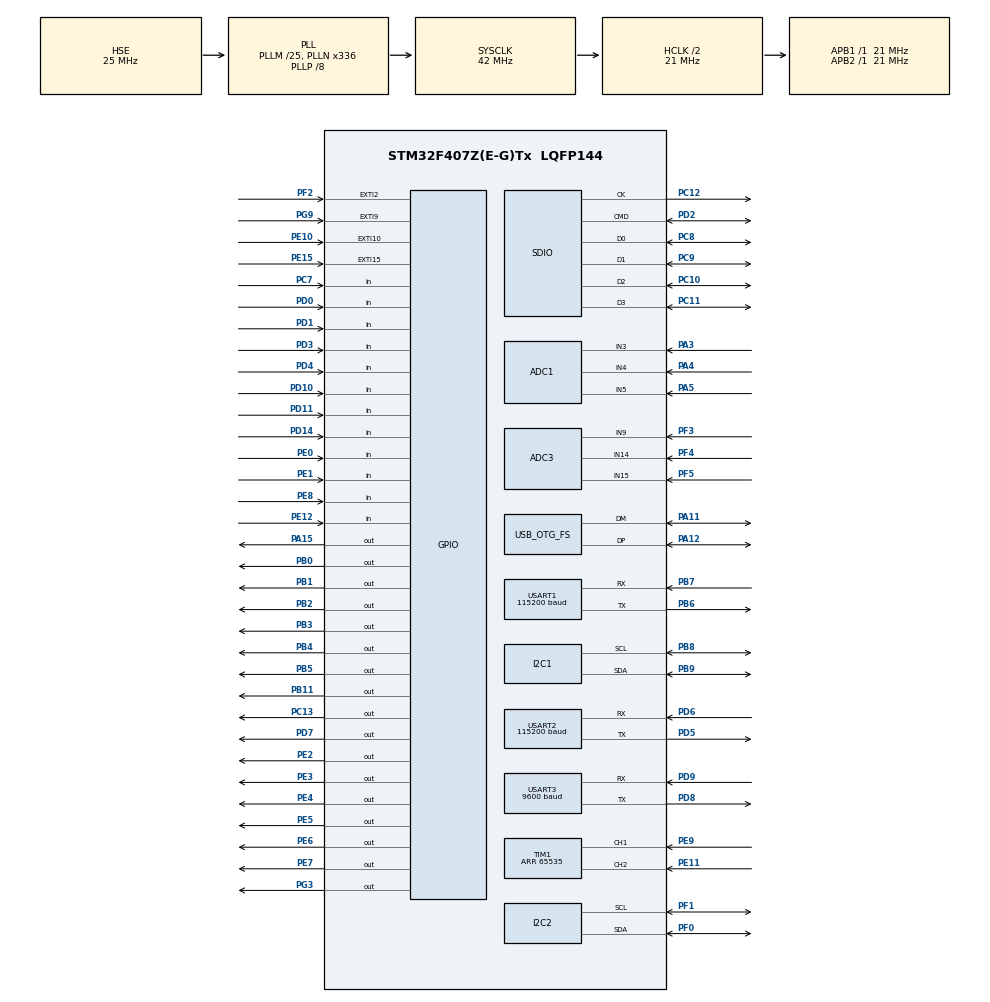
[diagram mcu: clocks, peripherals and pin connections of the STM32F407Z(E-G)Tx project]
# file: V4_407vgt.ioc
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ADC1.Channel-0\#ChannelRegularConversion=ADC_CHANNEL_3
ADC1.ClockPrescaler=ADC_CLOCK_SYNC_PCLK_DIV4
ADC1.NbrOfConversionFlag=1
ADC1.Rank-0\#ChannelRegularConversion=1
ADC1.SamplingTime-0\#ChannelRegularConversion=ADC_SAMPLETIME_3CYCLES
ADC1.master=1
ADC3.Channel-0\#ChannelRegularConversion=ADC_CHANNEL_9
ADC3.ClockPrescaler=ADC_CLOCK_SYNC_PCLK_DIV4
ADC3.NbrOfConversionFlag=1
ADC3.Rank-0\#ChannelRegularConversion=1
ADC3.SamplingTime-0\#ChannelRegularConversion=ADC_SAMPLETIME_3CYCLES
Dma.Request0=USART2_RX
Dma.USART2_RX.0.Direction=DMA_PERIPH_TO_MEMORY
Dma.USART2_RX.0.FIFOMode=DMA_FIFOMODE_DISABLE
Dma.USART2_RX.0.Instance=DMA1_Stream5
Dma.USART2_RX.0.MemDataAlignment=DMA_MDATAALIGN_BYTE
Dma.USART2_RX.0.MemInc=DMA_MINC_ENABLE
Dma.USART2_RX.0.Mode=DMA_NORMAL
Dma.USART2_RX.0.PeriphDataAlignment=DMA_PDATAALIGN_BYTE
Dma.USART2_RX.0.PeriphInc=DMA_PINC_DISABLE
Dma.USART2_RX.0.Priority=DMA_PRIORITY_LOW
IWDG.Prescaler=IWDG_PRESCALER_32
Mcu.Family=STM32F4
Mcu.Name=STM32F407Z(E-G)Tx
Mcu.Package=LQFP144
NVIC.DMA1_Stream5_IRQn=true\:0\:0\:false\:false\:true
NVIC.EXTI15_10_IRQn=true\:2\:0\:true\:false\:true
NVIC.EXTI2_IRQn=true\:1\:0\:true\:false\:true
NVIC.EXTI9_5_IRQn=true\:1\:0\:true\:false\:true
NVIC.OTG_FS_IRQn=true\:5\:0\:true\:false\:true
NVIC.PriorityGroup=NVIC_PRIORITYGROUP_4
NVIC.TIM2_IRQn=true\:1\:0\:true\:false\:true
NVIC.TIM4_IRQn=true\:3\:0\:true\:false\:true
NVIC.USART1_IRQn=true\:0\:0\:false\:false\:true
NVIC.USART2_IRQn=true\:2\:0\:true\:false\:true
NVIC.USART3_IRQn=true\:1\:0\:true\:false\:true
PA11.Mode=Device_Only
PA11.Signal=USB_OTG_FS_DM
PA12.Mode=Device_Only
PA12.Signal=USB_OTG_FS_DP
PA13.Mode=Serial_Wire
PA13.Signal=SYS_JTMS-SWDIO
PA14.Mode=Serial_Wire
PA14.Signal=SYS_JTCK-SWCLK
PA15.Signal=GPIO_Output
PA3.Signal=ADCx_IN3
PA4.Signal=ADCx_IN4
PA5.Signal=ADCx_IN5
PB0.Signal=GPIO_Output
PB1.Signal=GPIO_Output
PB11.Signal=GPIO_Output
PB2.Signal=GPIO_Output
PB3.Signal=GPIO_Output
PB4.Signal=GPIO_Output
PB5.Signal=GPIO_Output
PB6.Mode=Asynchronous
PB6.Signal=USART1_TX
PB7.Mode=Asynchronous
PB7.Signal=USART1_RX
PB8.Mode=I2C
PB8.Signal=I2C1_SCL
PB9.Mode=I2C
PB9.Signal=I2C1_SDA
PC10.GPIO_PuPd=GPIO_PULLUP
PC10.Mode=SD_4_bits_Wide_bus
PC10.Signal=SDIO_D2
PC11.GPIO_PuPd=GPIO_PULLUP
PC11.Mode=SD_4_bits_Wide_bus
PC11.Signal=SDIO_D3
PC12.Mode=SD_4_bits_Wide_bus
PC12.Signal=SDIO_CK
PC13-ANTI_TAMP.Signal=GPIO_Output
PC7.Signal=GPIO_Input
PC8.GPIO_PuPd=GPIO_PULLUP
PC8.Mode=SD_4_bits_Wide_bus
PC8.Signal=SDIO_D0
PC9.GPIO_PuPd=GPIO_PULLUP
PC9.Mode=SD_4_bits_Wide_bus
PC9.Signal=SDIO_D1
PD0.Signal=GPIO_Input
PD1.Signal=GPIO_Input
PD10.Signal=GPIO_Input
PD11.Signal=GPIO_Input
PD14.Signal=GPIO_Input
PD2.GPIO_PuPd=GPIO_PULLUP
PD2.Mode=SD_4_bits_Wide_bus
PD2.Signal=SDIO_CMD
PD3.Signal=GPIO_Input
PD4.Signal=GPIO_Input
PD5.Mode=Asynchronous
PD5.Signal=USART2_TX
PD6.Mode=Asynchronous
PD6.Signal=USART2_RX
PD7.Signal=GPIO_Output
PD8.Mode=Asynchronous
PD8.Signal=USART3_TX
PD9.Mode=Asynchronous
PD9.Signal=USART3_RX
PE0.Signal=GPIO_Input
PE1.Signal=GPIO_Input
PE10.GPIO_ModeDefaultEXTI=GPIO_MODE_IT_FALLING
PE10.Signal=GPXTI10
PE11.Signal=S_TIM1_CH2
PE12.Signal=GPIO_Input
PE15.GPIO_ModeDefaultEXTI=GPIO_MODE_IT_FALLING
PE15.GPIO_PuPd=GPIO_PULLUP
PE15.Signal=GPXTI15
PE2.Signal=GPIO_Output
PE3.Signal=GPIO_Output
PE4.Signal=GPIO_Output
PE5.Signal=GPIO_Output
PE6.Signal=GPIO_Output
PE7.Signal=GPIO_Output
PE8.Signal=GPIO_Input
PE9.Signal=S_TIM1_CH1
PF0.Mode=I2C
PF0.Signal=I2C2_SDA
PF1.Mode=I2C
PF1.Signal=I2C2_SCL
PF2.Signal=GPXTI2
PF3.Mode=IN9
PF3.Signal=ADC3_IN9
PF4.Mode=IN14
PF4.Signal=ADC3_IN14
PF5.Mode=IN15
PF5.Signal=ADC3_IN15
PG3.Signal=GPIO_Output
PG9.GPIO_ModeDefaultEXTI=GPIO_MODE_IT_FALLING
PG9.Signal=GPXTI9
PH0-OSC_IN.Mode=HSE-External-Oscillator
PH0-OSC_IN.Signal=RCC_OSC_IN
PH1-OSC_OUT.Mode=HSE-External-Oscillator
PH1-OSC_OUT.Signal=RCC_OSC_OUT
ProjectManager.HeapSize=0x2000
ProjectManager.StackSize=0x4000
ProjectManager.TargetToolchain=MDK-ARM V4
RCC.48MHZClocksFreq_Value=48000000
RCC.AHBCLKDivider=RCC_SYSCLK_DIV2
RCC.AHBFreq_Value=21000000
RCC.APB1Freq_Value=21000000
RCC.APB1TimFreq_Value=21000000
RCC.APB2Freq_Value=21000000
RCC.APB2TimFreq_Value=21000000
RCC.CortexFreq_Value=21000000
RCC.HCLKFreq_Value=21000000
RCC.HSE_VALUE=25000000
RCC.HSI_VALUE=16000000
RCC.LSE_VALUE=32768
RCC.PLLM=25
RCC.PLLN=336
RCC.PLLP=RCC_PLLP_DIV8
RCC.PLLQ=7
RCC.SYSCLKFreq_VALUE=42000000
RCC.SYSCLKSource=RCC_SYSCLKSOURCE_PLLCLK
RCC.VCOOutputFreq_Value=336000000
SDIO.ClockDiv=10
SH.ADCx_IN3.0=ADC1_IN3,IN3
SH.ADCx_IN4.0=ADC1_IN4,IN4
SH.ADCx_IN5.0=ADC1_IN5,IN5
SH.S_TIM1_CH1.0=TIM1_CH1,Encoder_Interface
SH.S_TIM1_CH2.0=TIM1_CH2,Encoder_Interface
TIM1.Period=65535
TIM2.Period=62500
TIM2.Prescaler=672
TIM3.Period=65535
TIM3.Prescaler=20
TIM4.Period=100
TIM4.Prescaler=2100
TIM6.Period=65535
TIM6.Prescaler=192
USART1.BaudRate=115200
USART1.VirtualMode=VM_ASYNC
USART2.BaudRate=115200
USART2.VirtualMode=VM_ASYNC
USART3.BaudRate=9600
USART3.VirtualMode=VM_ASYNC
USB_DEVICE.CLASS_NAME_FS=MSC
USB_DEVICE.VirtualModeFS=Msc_FS
USB_OTG_FS.VirtualMode=Device_Only
USB_OTG_FS.vbus_sensing_enable=ENABLE
VP_FATFS_VS_SDIO.Mode=SDIO
VP_IWDG_VS_IWDG.Mode=IWDG_Activate
VP_TIM2_VS_ClockSourceINT.Mode=Internal
VP_TIM3_VS_ClockSourceINT.Mode=Internal
VP_TIM4_VS_ClockSourceINT.Mode=Internal
VP_TIM6_VS_ClockSourceINT.Mode=Enable_Timer
VP_USB_DEVICE_VS_USB_DEVICE_MSC_FS.Mode=MSC_FS
board=V4_407vgt

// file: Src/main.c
/**
  ******************************************************************************
  * File Name          : main.c
  * Description        : Main program body
  ******************************************************************************
  * This notice applies to any and all portions of this file
  * that are not between comment pairs USER CODE BEGIN and
  * USER CODE END. Other portions of this file, whether
  * inserted by the user or by software development tools
  * are owned by their respective copyright owners.
  *
  * Copyright (c) 2018 STMicroelectronics International N.V.
  * All rights reserved.
  *
  * Redistribution and use in source and binary forms, with or without
  * modification, are permitted, provided that the following conditions are met:
  *
  * 1. Redistribution of source code must retain the above copyright notice,
  *    this list of conditions and the following disclaimer.
  * 2. Redistributions in binary form must reproduce the above copyright notice,
  *    this list of conditions and the following disclaimer in the documentation
  *    and/or other materials provided with the distribution.
  * 3. Neither the name of STMicroelectronics nor the names of other
  *    contributors to this software may be used to endorse or promote products
  *    derived from this software without specific written permission.
  * 4. This software, including modifications and/or derivative works of this
  *    software, must execute solely and exclusively on microcontroller or
  *    microprocessor devices manufactured by or for STMicroelectronics.
  * 5. Redistribution and use of this software other than as permitted under
  *    this license is void and will automatically terminate your rights under
  *    this license.
  *
  * THIS SOFTWARE IS PROVIDED BY STMICROELECTRONICS AND CONTRIBUTORS "AS IS"
  * AND ANY EXPRESS, IMPLIED OR STATUTORY WARRANTIES, INCLUDING, BUT NOT
  * LIMITED TO, THE IMPLIED WARRANTIES OF MERCHANTABILITY, FITNESS FOR A
  * PARTICULAR PURPOSE AND NON-INFRINGEMENT OF THIRD PARTY INTELLECTUAL PROPERTY
  * RIGHTS ARE DISCLAIMED TO THE FULLEST EXTENT PERMITTED BY LAW. IN NO EVENT
  * SHALL STMICROELECTRONICS OR CONTRIBUTORS BE LIABLE FOR ANY DIRECT, INDIRECT,
  * INCIDENTAL, SPECIAL, EXEMPLARY, OR CONSEQUENTIAL DAMAGES (INCLUDING, BUT NOT
  * LIMITED TO, PROCUREMENT OF SUBSTITUTE GOODS OR SERVICES; LOSS OF USE, DATA,
  * OR PROFITS; OR BUSINESS INTERRUPTION) HOWEVER CAUSED AND ON ANY THEORY OF
  * LIABILITY, WHETHER IN CONTRACT, STRICT LIABILITY, OR TORT (INCLUDING
  * NEGLIGENCE OR OTHERWISE) ARISING IN ANY WAY OUT OF THE USE OF THIS SOFTWARE,
  * EVEN IF ADVISED OF THE POSSIBILITY OF SUCH DAMAGE.
  *
  ******************************************************************************
  */
#include "main.h"
#include "stm32f4xx_hal.h"
#include "fatfs.h"
#include "usb_device.h"

/* USER CODE BEGIN Includes */
#include <string.h>
#include <stdio.h>

#include "lcdlib.h"
#include "my_delay.h"
#include "defines.h"
#include "eeprom_ext.h"
#include "rtc.h"
#include "gsm.h"
#include "main_func.h"
#include "usart.h"
#include "temperature.h"
#include "timeout.h"
#include "ADXL345.h"
#include "main_func.h"
#include "wifi.h"
#include "ir.h"
#include "camera.h"
/* USER CODE END Includes */

ADC_HandleTypeDef hadc1;
ADC_HandleTypeDef hadc3;

I2C_HandleTypeDef hi2c1;
I2C_HandleTypeDef hi2c2;

IWDG_HandleTypeDef hiwdg;

SD_HandleTypeDef hsd;

TIM_HandleTypeDef htim1;
TIM_HandleTypeDef htim2;
TIM_HandleTypeDef htim3;
TIM_HandleTypeDef htim4;
TIM_HandleTypeDef htim6;

UART_HandleTypeDef huart1;
UART_HandleTypeDef huart2;
UART_HandleTypeDef huart3;
DMA_HandleTypeDef hdma_usart2_rx;

/* USER CODE BEGIN PV */
/* Private variables ---------------------------------------------------------*/
const uint32_t station_address=500;
char station_name[30]="MARV ELECTRONIC";
const char firmware_version[]="V4.01";

#ifdef marv
const char title_str[]="     MARV RTU";
#endif

#ifdef saramin
const char title_str[]="    SARAMIN RTU";
#endif

ADC_ChannelConfTypeDef adConfig;

volatile Rtc clock,cur_clock;

// server listen port for www

#define MYWWWPORT 80

// global packet buffer

#define BUFFER_SIZE 550

//static uint8_t tcp_buf[BUFFER_SIZE+1];

// Counter & Index Var ------------------------
volatile uint8_t play_count, alarm_count, resend,len,display_count,iic_count,rec_cou,rf_pwr_count,
time_out,time_out_pass,send_time,p_rec_cou,p_len,loop_timeout,ir_cou,iic_pwr_count,
fc_clr_time,next_msg,usart_rain_cou,ReadWaterTime,log_period,minute_changed,iic_busy_timeout;

volatile uint16_t send_count,count,rain_cou,wakeup_cou,i,j,wind_timeout,test_mode_timeout,temp_time;

//Normal Var------------------------------------------------------------
volatile uint8_t st_type,pwr_existence,
fc_on_time,fc_off_time,cur_minute,save_door_state,
valid_door_flag,snow_mtr_time=11,cur_resend,rain_sensor_type,fc_delay,temp_type,
sound_number,WindSensorType;

volatile uint16_t password,input_pass,alarm,log_time,next_log_time,sample_count,start_time,stop_time,
return_time=60,WaterSensorTime,DisplayTime,wind_dir,cur_wind_dir,wind_speed,cur_wind_speed,LogParameters,
time24;

volatile uint32_t write_adr,read_adr,data_ir,button[20],ext_device,AirPressure,cur_air_pressure;

volatile float wind_time,WindAlpha,WindBeta,AirAlpha,AirBeta,utp,ltp;
//-------------Rain Sensor Var--------------------------
volatile float rain_level,cur_rain_level,last_rain_level,delta_rain_level,rain_time,minute_rain;
volatile float rain_register[20],rain_sum;
volatile uint8_t rain_register_index;
volatile uint16_t RainRstTime,RainRstFlag;
volatile uint16_t RainEventTime=900,minute_rain_cou;

volatile uint8_t heater_control;
signed char heater_temp;
//----------------Analog input var--------------------
float ADC1Scale,ADC2Scale,ADC3Scale,ADC4Scale,ADC5Scale,currentScale;
//---------water sensor var--------------------------
unsigned char WaterSensorType;
volatile int16_t  water_level,last_water_level,delta_water_level,cur_water_level_display,max_water_level,
min_water_level,SensorLevel,RotaryResolution,RotaryDiameter,RotaryScale,cur_water_level;
float Imin,Imax;
uint16_t volatile SetLevelBar_count,SetLevelBar_timeout;
//-------------------wifi--------------------------------
uint8_t wifi_rec_buffer[250],wifi_send_buffer[250];
volatile uint8_t wifi_rec_index;
//-----------Camera Module Variables-------------
volatile unsigned int PictureSize,PictureSizeCounter,TakePictureCount,CamRecLen,
camera_log_time;
unsigned char CameraBuffer[550],CameraBuffer1[550],MemBuf[60000]/*1310*/,*CameraBufPointer=CameraBuffer;
volatile unsigned char CamBufOvf,PictureRecProcess,rs485_select;

unsigned char gprs_first_connect,gprs_auto_upload;

unsigned char server_url[50],server_username[30],server_password[20],server_filename[50],server_path[100],apn_name[30];
unsigned char temp_filename[40];

char camera_reset[4]={0x56,0,0x26,0};
char camera_TakePicture[5]={0x56,0,0x36,0x1,0};
char camera_ReadFileSize[5]={0x56,0,0x34,0x1,0};
char camera_ReadFileContent[16]={0x56,0,0x32,0xc,0,0xa,0,0,0,0,0,0,0,0,0,0xa};
char camera_ChangePicSizeLarge[5]={0x56,0,0x54,1,0};
char camera_ChangePicSizeSmall[5]={0x56,0,0x54,1,0x11};
char camera_changeboud[7]={0x56,0,0x24,3,1,0xAE,0xC8};

//--------bmp variabls-----------
volatile int16_t AC1,AC2,AC3,B1,B2,MB,MC,MD;
volatile uint16_t AC4,AC5,AC6;
volatile int32_t UP=0,UT=0,B3,B4=0,B5=0,B6=0,B7=0,X1=0,X2=0,X3=0,T=0;
volatile float P;

/////ADXL345 --------------------------------------------
uint16_t Accel_Xout_Val=0, Accel_Yout_Val=0, Accel_Zout_Val=0;
int16_t Accel_Xout_Normalized_Val=0, Accel_Yout_Normalized_Val=0, Accel_Zout_Normalized_Val=0;
uint8_t Offset_X_Val=0,Offset_Y_Val=0,Offset_Z_Val=0;
float Accel_XAngle=0, Accel_YAngle=0, Accel_ZAngle=0;

//***---------------temperature & humidity sensor ------------------
signed char temp_in,cur_temp_in,temp_out,cur_temp_out,temp_difference,T_low,T_hi;
uint8_t sht_rec_buffer[15],sht_send_buffer[5],temp_rec_len,humidity;
//------------thalimedes --------------
unsigned char thali_buf[20];
//buffer Definition ***********************

uint8_t p_rec_buf[15],p_send_bufer[15],fc301d_send_buffer[255],fc301d_rec_buffer[255],
log_buffer[100],base_address[30],log_header[20];

uint8_t usart2_rx[2],usart3_rx[2];
//uint16_t log_avg[40];
uint8_t buf[255];
//-------gsm module---------------
uint8_t SimSendBuffer[255],SimRecBuffer[255],ServerPhone[30],RemotePhone[30]
,SMS_text[255],ChargeReqStr[30],gprs_buffer[250];
uint8_t AdminMobile[30];
volatile uint8_t gsm_off_time,SmsSendFlag,CUSD_cnt;
volatile int8_t gsm_signal,SMS_number,ftp_path_separator;
volatile uint16_t SimCount,SmsSendTime,SimRecLen,user_sms_count,user_sms_timeout,gprs_upload_time;
volatile uint16_t upload_time_table[5];
//--------keypad string-----------
char input_number_str[20];
uint8_t number_limit,number_limit_index;
//pointer-------------------------
uint8_t *rec_data,*data,**endptr;
uint8_t *sms_pointer,*sms_pointer1,*str_point;
//FatFs variable definition---------------------

FATFS SDFatFs;  /* File system object for SD card logical drive */
uint8_t SDPath[4]; /* SD card logical drive path */

FRESULT res;                                          /* FatFs function common result code */

FATFS Fatfs[_VOLUMES];		/* File system object for each logical drive */
FIL File[2];				/* File object */
DIR dir[5];
UINT FatBytesWritten;
UINT FatBytesRead;

//Structures & Bit Variables -----------------------------------------------------------------
#pragma anon_unions
union {

  uint8_t msg;
  struct {

    uint8_t num:7;
    uint8_t device:1;
  };
}volatile play_buffer[20];

//Flag Defines-------------------
//#pragma anon_unions
struct{

  struct {
    uint16_t open_door:1;
    uint16_t main_menu:1;
    uint16_t ir_flag:1;
    uint16_t comm:1;
    uint16_t ack:1;
    uint16_t ply_alarm:1;
    uint16_t rob:1;
    uint16_t wakeup:1;
    uint16_t door:1;
    uint16_t temp_control:1;
    uint16_t fc_net_busy:1;
    uint16_t LcdOn:1;
    uint16_t bmp180_timeout:1;
    uint16_t pcf_timeout:1;
    uint16_t disp:1;
  };

  struct{
    uint16_t read_state:1;
    uint16_t config_pwr:1;
    uint16_t pwr_config_read:1;
    uint16_t read_log:1;
    uint16_t config_rtc:1;
    uint16_t rtc_read:1;
    uint16_t config_log_time:1;
    uint16_t log_time_read:1;
    uint16_t config_fc_cycle:1;
    uint16_t fc_cycle_read:1;
    uint16_t config_send_time:1;
    uint16_t send_time_read:1;
    uint16_t rtcset:1;
    uint16_t dmatranfercplt:1;

  };
  struct{
    uint16_t fc301d_reply_cmd:1;
    uint16_t display_level:1;
    uint16_t aburt:1;
    uint16_t spi_rec:1;
    uint16_t input_init_pass:1;
    uint16_t r:1;
    uint16_t detect_rain:1;
    uint16_t start_rain_event:1;
    uint16_t rec_rain_usart:1;
    uint16_t refresh:1;
    uint16_t rtc_update:1;
    uint16_t log_disable:1;
    uint16_t ir_learn:1;
    uint16_t WaterSensorOn:1;
		uint16_t test_mode:1;
		uint16_t i2c_busy:1;

  };
	struct{
    uint16_t UserCheck:1;
    uint16_t SetWaterLevelBar:1;
		uint16_t min_changed:1;
		uint16_t log_start:1;
		uint16_t stop_rain:1;
		uint16_t min_rain_check:1;
		uint16_t log_picture:1;
		uint16_t levelevent:1;
		uint16_t menu_setting:1;
		uint16_t alarm_disable:1;
		uint16_t upload_log:1;
		uint16_t upload_in_schedule:1;

  };

}volatile flag;

//commands : {length,cmd}

typedef struct
{uint8_t length; uint8_t cmd;}command;

const command
wakeup = {0,200},

play_alarm={0,21},

stop_alarm={0,22},

hozur_taki={0,42},

acknlg={0,43},

send_data={19,47},

read_mem={9,45},
time_stamp={0,49},

power_config={5,54},
read_power_config={0,55},
send_power_config={5,56},

rtc_config={6,57},
send_rtc={6,58},
read_rtc={0,59},

read_fc_time={0,64},
send_fc_time={2,65},
fc_time_config={2,66},

read_send_time={0,67},
send_time_config={1,68},
transmit_send_time={1,69},

log_time_config={2,70},
send_log_time={2,71},
read_log_time={0,72},

end_pack={0,73},
aburt_process={0,74},

change_server_phone={12,75},
server_phone_reply={12,76},
server_phone_read={0,77},

read_data_ascii={0,78},

snowmotor={0,79};
/* USER CODE END PV */

void SystemClock_Config(void);
static void MX_GPIO_Init(void);
static void MX_DMA_Init(void);
static void MX_ADC1_Init(void);
static void MX_ADC3_Init(void);
static void MX_TIM2_Init(void);
static void MX_TIM3_Init(void);
static void MX_USART2_UART_Init(void);
static void MX_I2C1_Init(void);
static void MX_I2C2_Init(void);
static void MX_USART3_UART_Init(void);
static void MX_IWDG_Init(void);
static void MX_TIM4_Init(void);
static void MX_USART1_UART_Init(void);
static void MX_SDIO_SD_Init(void);
static void MX_TIM1_Init(void);
static void MX_TIM6_Init(void);

/* USER CODE BEGIN PFP */
/* Private function prototypes -----------------------------------------------*/

/* USER CODE END PFP */

int main(void)
{

  /* MCU Configuration----------------------------------------------------------*/

  /* Reset of all peripherals, Initializes the Flash interface and the Systick. */
  HAL_Init();

  /* Configure the system clock */
  SystemClock_Config();

  /* Initialize all configured peripherals */
  MX_GPIO_Init();
  MX_DMA_Init();
  MX_ADC1_Init();
  MX_ADC3_Init();
  MX_TIM2_Init();
  MX_TIM3_Init();
  MX_USART2_UART_Init();
  MX_I2C1_Init();
  MX_I2C2_Init();
  MX_USART3_UART_Init();
  MX_IWDG_Init();
  MX_TIM4_Init();
  MX_USART1_UART_Init();
  MX_USB_DEVICE_Init();
  MX_SDIO_SD_Init();
  MX_FATFS_Init();
  MX_TIM1_Init();
  MX_TIM6_Init();

  /* USER CODE BEGIN 2 */

  delayms(1000);
  HAL_TIM_Base_Start(&htim1);
  HAL_TIM_Base_Start_IT(&htim2);
  HAL_TIM_Base_Start(&htim3);
	HAL_TIM_Base_Start_IT(&htim4);
	HAL_TIM_Base_Start(&htim6);

//	__HAL_UART_ENABLE_IT(&huart1, UART_IT_RXNE);
	HAL_NVIC_DisableIRQ(TIM4_IRQn);//disable key input

	rtc_init();

	rtc_gettime_shamsi(&clock);
	cur_clock=clock;

	lcd_pwr_on;
	LCDinit();
	LCDclr();
	LCDcursorOFF();
	LCDputs("Boot Device ");
	valid_door_flag=1;
	flag.main_menu=1;
	flag.open_door=1;
	flag.door=1;
	flag.LcdOn=1;
	delayms(1000);

//	if(mmc_detect==0){

		f_mount(&SDFatFs, (TCHAR const*)SDPath, 1);
		sprintf((char*)log_buffer,"%04d_%02d.txt",clock.year,clock.month);
		res=f_open(&File[0],log_buffer,FA_WRITE | FA_OPEN_ALWAYS);

		LCDclr();
		if(res==0){
			LCDputs("SD Card Mount OK");
			f_close(&File[0]);

		}
		else{
			sprintf(buf,"SD Card Fail %d",res);
			LCDputs(buf);
		}

		delayms(1000);
//	}

//	__enable_irq();
//	__disable_irq();
  /*adc config chanel variable */

  adConfig.Rank = 1;
  adConfig.SamplingTime = ADC_SAMPLETIME_480CYCLES;
  //------------------station name-------------------------------
	if(read_exteeprom_byte(station_name_ee_adr)!=0xFF){
		read_exteeprom_ary((unsigned char*)station_name,30,station_name_ee_adr);

	}

  //--------------------if external device connected--------------
  ext_device=read_exteeprom_dword(ext_device_ee_adr);

  if(ext_device==0xFFFFFFFF){
    ext_device=0;
    write_exteeprom_dword(ext_device,ext_device_ee_adr);

  }
  else {
		ext_device |= gsm;//  gsm modem is fixed in device

    if((ext_device&temp_sensor)==temp_sensor){
      temp_type=read_exteeprom_byte(temp_type_ee_adr);
      if(temp_type & PT100){
        temp_difference=read_exteeprom_byte(temp_difference_ee_adr);
        analog_pwr_on;
      }
    }

    if(ext_device & water_sensor){
      WaterSensorType=read_exteeprom_byte(water_type_ee_adr);
      if(WaterSensorType==microsonic){

        max_water_level=read_exteeprom_word(max_water_level_ee_adr);
        min_water_level=read_exteeprom_word(min_water_level_ee_adr);
        SensorLevel=read_exteeprom_word(sensor_level_ee_adr);
        //      Imax=read_exteeprom_float(Imax_ee_adr);
        //      Imin=read_exteeprom_float(Imin_ee_adr);

      }
			if(WaterSensorType == rotary_encoder){
				RotaryResolution=read_exteeprom_word(RotaryResolution_ee_adr);
				RotaryDiameter=read_exteeprom_word(RotaryDiameter_ee_adr);
				if(RotaryResolution==0xFFFF) RotaryResolution=200;//Pulse
				if(RotaryDiameter==0xFFFF) RotaryDiameter=20;//cm
				RotaryScale=RotaryResolution/RotaryDiameter;
				water_level=(int16_t)read_exteeprom_word(water_level_ee_adr);
				if(water_level>1000 || water_level<(0-1000))water_level=0;
				TIM1->CNT=water_level*RotaryScale;
				cur_water_level=water_level;
			}

			last_water_level=water_level;
			cur_water_level_display=water_level;
			delta_water_level=read_exteeprom_word(DeltaWlvlEEadr);

    }

    if(ext_device & rain_sensor){
      T_hi=read_exteeprom_byte(T_hi_ee_adr);
      T_low=read_exteeprom_byte(T_low_ee_adr);

			rain_sensor_type=read_exteeprom_byte(rain_type_ee_adr);

      rain_level=read_exteeprom_float(rain_level_ee_adr);
      if(rain_level>100 || rain_level<0)rain_level=0;

      RainRstTime=read_exteeprom_word(RainRstTime_ee_adr);

      RainEventTime=read_exteeprom_word(RainEventTime_ee_adr);
      if(RainEventTime>30000)RainEventTime=900;

			if(read_exteeprom_dword(DeltaRainLevelEEadr)!=0xFFFFFFFF){
				delta_rain_level=read_exteeprom_float(DeltaRainLevelEEadr);
      }
			else
				delta_rain_level=1000;//unreachable value

			last_rain_level=rain_level;
      cur_rain_level=rain_level;

			heater_control = read_exteeprom_byte(heater_control_ee_adr);
    }

    if(ext_device & gsm){
			LCDclr();
			LCDputs("GSM Init...");
			GsmInit();
      read_exteeprom_ary(ServerPhone,29,server_phone_ee_adr);
			read_exteeprom_ary(ChargeReqStr,29,ChargeReqStr_ee_adr);
      gsm_off_time=clock.hour;
			SmsSendTime=read_exteeprom_word(SmsSendTime_ee_adr);

			gprs_upload_time=read_exteeprom_word(gprs_upload_time_ee_adr);
			gprs_auto_upload=read_exteeprom_word(gprs_auto_upload_ee_adr);

			upload_time_table[0]=read_exteeprom_word(upload_time_table0_ee_adr);
			upload_time_table[1]=read_exteeprom_word(upload_time_table1_ee_adr);
			upload_time_table[2]=read_exteeprom_word(upload_time_table2_ee_adr);
			upload_time_table[3]=read_exteeprom_word(upload_time_table3_ee_adr);
			upload_time_table[4]=read_exteeprom_word(upload_time_table4_ee_adr);

			ftp_path_separator=read_exteeprom_byte(ftp_path_separator_ee_adr);

//-------------------read ftp addrress------------------------
			 if(read_exteeprom_byte(server_changed1_ee_adr)==0){

				read_exteeprom_ary(server_url,29,server_url_ee_adr);
				read_exteeprom_ary(server_username,29,server_username_ee_adr);
				read_exteeprom_ary(server_password,19,server_password_ee_adr);

			}

			else{
				strcpy(server_url,"files.000webhost.com");
				strcpy(server_username,"merlin66");
				strcpy(server_password,"8724110316");

			}

			if(read_exteeprom_byte(server_changed2_ee_adr)==0){

				read_exteeprom_ary(server_filename,49,server_filename_ee_adr);
				read_exteeprom_ary(server_path,49,server_path_ee_adr);
				read_exteeprom_ary(apn_name,30,apn_name_ee_adr);
			}

			else{

				strcpy(server_filename,"MarvPicture.jpg");
				strcpy(server_path,"/");
				strcpy(apn_name,"MTNIRANCELL");

			}

			str_point=server_path;
			while((*str_point) != 0){
				if((*str_point) == '*')(*str_point)=ftp_path_separator;
				str_point++;

			}

			sprintf(buf,"%06d%c",station_address,ftp_path_separator);
			strcat(server_path,buf);

		}

		if(ext_device & wifi){
			delayms(1000);
			LCDclr();
			LCDputs("WIFI Init...");
			wifi_init();
		}

    if(ext_device & wind_sensor){
      WindSensorType=read_exteeprom_byte(wind_type_ee_adr);

      if(WindSensorType == wind_omc160){
        //init usart for omc

      }

    }

  }

  // station_address=read_exteeprom_word(station_ee_adr);
  if(read_exteeprom_byte(50)==0)
    read_exteeprom_ary(base_address,30,base_ee_adr);

  else{
    for(i=0;i<30;i++) base_address[i]=0;
    write_exteeprom_ary(base_address,30,base_ee_adr);
    write_exteeprom_byte(0,50);
  }

  if(base_address[0]!=0)  fc_delay = base_address[0];
  else fc_delay=2;

  st_type=read_exteeprom_byte(st_type_ee_adr);

  //if password changed from defult password address 64000 would be 0 else it would be 255 and password would be defult password--
  if(read_exteeprom_byte(32)==255){
    password=defult_password;
    write_exteeprom_word(password,password_ee_adr);
    write_exteeprom_byte(0,32);

  }
  else if(read_exteeprom_byte(32)==0)
    password = read_exteeprom_word(password_ee_adr);

  else {
    write_exteeprom_byte(0,32);

    password=defult_password;
    write_exteeprom_word(password,password_ee_adr);
  }
  //-------------------------------------------------------------------------
  pwr_existence=read_exteeprom_byte(pwr_existence_ee_adr);
  if(pwr_existence==0xFF){
    pwr_existence=0;
    write_exteeprom_byte(pwr_existence,pwr_existence_ee_adr);
  }

  //-----------------------------------------------log_time setting-------------------------------
  if(read_exteeprom_word(log_time_ee_adr)==0xFFFF){
    log_time=60;
    write_exteeprom_word(log_time,log_time_ee_adr);

  }
  else log_time = read_exteeprom_word(log_time_ee_adr);

	if(read_exteeprom_word(LogParametersEEadr)==0xFFFF){
    LogParameters=5;
    write_exteeprom_word(LogParameters,LogParametersEEadr);

  }
  else LogParameters = read_exteeprom_word(LogParametersEEadr);

//	next_log_time=(clock.hour+1)*60;
//  if(next_log_time>=1440) {next_log_time=0; flag.log_disable=1;}

//  next_log_time=(clock.hour*60)+clock.min+log_time;
//  if(next_log_time>=1440) {next_log_time=next_log_time%1440; flag.log_disable=1;}

  //-----------------camera---------------------------------
	if(ext_device & camera){
		if(read_exteeprom_word(camera_log_time_ee_adr)==0xFFFF){
			camera_log_time=60;
			write_exteeprom_word(camera_log_time,camera_log_time_ee_adr);

		}
		else camera_log_time = read_exteeprom_word(camera_log_time_ee_adr);
	}
	//------------------------------------------------------ FC ON & OFF TIME      High_nibble:OFF     Low_nibble:ON-----------------

	if(read_exteeprom_byte(fc_time_ee_adr)==0xFF)

    write_exteeprom_byte(0x23,fc_time_ee_adr);              //2 second ON & 2 second OFF

  fc_on_time=read_exteeprom_byte(fc_time_ee_adr)&0x0F;
  fc_off_time=read_exteeprom_byte(fc_time_ee_adr)>>4;

  //------------------------------------------------------set default send_time--------------------------------------------------
  if(read_exteeprom_byte(send_time_ee_adr)==0xFF)
    write_exteeprom_byte(10,send_time_ee_adr);

  send_time=read_exteeprom_byte(send_time_ee_adr);
	//---------------------ADC Calib ---------------------

	if(read_exteeprom_byte(ADC1CalibOk)==0){
    ADC1Scale= read_exteeprom_float(ADC1Scale_ee_adr);

  }
  else {
    ADC1Scale=1;
  }

  if(read_exteeprom_byte(ADC2CalibOk)==0){
    ADC2Scale= read_exteeprom_float(ADC2Scale_ee_adr);

  }
  else {
    ADC2Scale=1;
  }

  if(read_exteeprom_byte(ADC3CalibOk)==0){
    ADC3Scale= read_exteeprom_float(ADC3Scale_ee_adr);

  }
  else {
    ADC3Scale=1;
  }

	if(read_exteeprom_byte(ADC4CalibOk)==0){
    ADC4Scale= read_exteeprom_float(ADC4Scale_ee_adr);

  }
  else {
    ADC4Scale=1;
  }

  if(read_exteeprom_byte(ADC5CalibOk)==0){
    ADC5Scale= read_exteeprom_float(ADC5Scale_ee_adr);

  }
  else {
    ADC5Scale=1;
  }

  if(read_exteeprom_byte(currentCalibOk)==0){
    currentScale= read_exteeprom_float(currentScale_ee_adr);

  }
  else {
    currentScale=1;
  }

  //read door state ------------------------------------------
  save_door_state = read_exteeprom_byte(door_state_ee_adr);

//	if(read_exteeprom_byte(IrIsLearned_ee_adr)==0xFF){
//		lcd_pwr_on;
//		flag.LcdOn=1;
//		delayms(20);
//		LCDinit();
//		delayms(20);
//		if(IR_Learning()==1)write_exteeprom_byte(0,IrIsLearned_ee_adr);
//		else{
//			static const char str_f5[]="LEARN FAIL !";
//			LCDclr();
//			LCDputsf(str_f5);
//			delayms(2000);
//		}
//	}
//	else{
//		read_exteeprom_ary((unsigned char*)button,68,button_ir_ee_adr);
//
//	}
//	flag.ir_learn=0;

//		loadSettingSD();
//		clock.min==0;
//		sprintf(buf,"picture/%04d_%02d/%02d_%02d_%02d.jpg",clock.year,clock.month,clock.day,clock.hour,clock.min);
//		res=upload_picture(buf,"09154431093");
  /* USER CODE END 2 */

  /* Infinite loop */
  /* USER CODE BEGIN WHILE */

	HAL_NVIC_EnableIRQ(TIM4_IRQn);//enable input key
  while (1)
  {
  /* USER CODE END WHILE */

  /* USER CODE BEGIN 3 */

    tgl_wdt;

//		 //-------------------------rain level reset in time---------------------
//    if(((clock.hour*60)+clock.min) != RainRstTime)RainRstFlag=0;
//
//    if((((clock.hour*60)+clock.min )== RainRstTime) && (RainRstFlag==0)){
//      RainRstFlag=1;
//      rain_level=0;
//      write_exteeprom_float(rain_level,rain_level_ee_adr);
//
//    }
    //--------------------------clock update after 6 month---------------
    if(iic_busy_timeout>60){
			flag.i2c_busy=0;
		}

    if(clock.hour==0 && clock.min==0){

      flag.log_disable=0; //enable clock compare for data logging

      if(clock.day==1 && clock.month==1){
        clock.hour++;
        rtc_settime_shamsi(&clock);
      }

      else if(clock.day==1 && clock.month==7 && flag.rtc_update==0){
        flag.rtc_update=1;
        clock.hour=23;
        clock.day=31;
        clock.month=6;
        rtc_settime_shamsi(&clock);

      }

    }

    if(clock.hour==1 && flag.rtc_update==1) flag.rtc_update=0;

    //------------------------------------ in time processing--------------------------------

		if(flag.log_start==1){
			flag.log_start=0;

			log_data(log_buffer);
			flag.log_disable=1;

    }
		if(ext_device & camera){
			if(flag.log_picture==1){
				flag.log_picture=0;

				log_picture(1);

			}
		}
		if(ext_device & gsm){
			if(gprs_auto_upload & gprs_enable){
				if(gprs_auto_upload & gprs_upload_logfile){
					if(flag.upload_log==1){
						flag.upload_log=0;
						sprintf(buf,"%04d_%02d.txt",clock.year,clock.month);
						upload_file(buf,ServerPhone);
					}

				}

				if(gprs_auto_upload & gprs_upload_tabletime){
					if(flag.upload_in_schedule==1){
						flag.upload_in_schedule=0;
						ReadSensorToStr(gprs_buffer);
						upload_instant(gprs_buffer,ServerPhone);
						if(ext_device & camera){
							res=get_picture(1,server_filename);
							if(res!=0){
								strcpy(SMS_text,"Camera Response\r\nCamera Connection Fail");
								SendSMS(ServerPhone,SMS_text);

							}
							else{
								upload_file(server_filename,ServerPhone);
							}
						}
					}

				}
			}
		}
//------------------------------------------------------------
		if(ext_device & water_sensor){
			water_level=(int16_t)(TIM1->CNT)/(int16_t)RotaryScale;

			if(water_level>(cur_water_level+5)){
				cur_water_level=water_level;
				write_exteeprom_word(water_level,water_level_ee_adr);
			}
			if(water_level<(cur_water_level-5)){
				cur_water_level=water_level;
				write_exteeprom_word(water_level,water_level_ee_adr);
			}

			#ifdef marv
			if((water_level>(last_water_level+delta_water_level))||(water_level<(last_water_level-delta_water_level))){

				last_water_level=water_level;
		  #endif
			#ifdef saramin
			if((water_level>(delta_water_level)) && flag.levelevent==0){

				flag.levelevent=1;

		  #endif

				if(ext_device & gsm){
					sprintf(SMS_text,"%04d/%02d/%02d,\r\n%02d:%02d:%02d,\r\nLVL=%d,\r\nLVLevent,\r\n",clock.year,clock.month,clock.day,clock.hour,clock.min,clock.sec,water_level);
					SendSMS(ServerPhone,SMS_text);
					delayms(2000);
					read_exteeprom_ary(AdminMobile,29,AdminMobile1_ee_adr);
					SendSMS(AdminMobile,SMS_text);
					delayms(2000);
					read_exteeprom_ary(AdminMobile,29,AdminMobile2_ee_adr);
					SendSMS(AdminMobile,SMS_text);
					delayms(3000);
				}
				if(ext_device & camera){

					res=get_picture(1,"LVLEVENT.jpg");
					if(res!=0){
						strcpy(SMS_text,"Camera Connection Fail");
						SendSMS(ServerPhone,SMS_text);

					}
					else{

						upload_file("LVLEVENT.jpg",ServerPhone);
					}
				}

			}
//			#ifdef marv
//			if(water_level<last_water_level){
//				last_water_level=water_level;

//			}
//			#endif

			#ifdef saramin
			if((water_level<(delta_water_level))){
				flag.levelevent=0;
			}
			#endif

		}

    //----------------------rain sensor heater control---------
		if(ext_device & rain_sensor){
		 if(temp_time>600){
			 if(heater_control==1)
				ReadExtTemp(&heater_temp);
			 else if(heater_control==2)
				temp_lm75(&heater_temp);

       temp_time=0;
     }

     if(heater_temp<T_low && flag.temp_control==0){
       flag.temp_control=1;

       heater_on;
     }
     if(heater_temp>T_hi && flag.temp_control==1){
       flag.temp_control=0;

       heater_off;
     }
	 }
    //---------------------------------------------------------------------------

    if((send_count>fc_delay) && flag.refresh==1 && (ext_device & RadioModem)){

      resend++;
      if(flag.ack || flag.aburt){
        flag.refresh=0;
        flag.aburt=0;
        flag.ack=0;
        resend=0;

      }

      else{
        if(resend<send_time){

          wakeup_cou=0;
          if(flag.fc_net_busy==0)
            fc301d_send(fc301d_send_buffer);
          send_count=0;

        }
        else {
          resend=0;flag.refresh=0;
          if(ext_device & gsm){

            ReadSensorToStr(SMS_text);
            SendSMS(ServerPhone,SMS_text);
          }

        }

      }
    }

    //if(iic_pwr_count>10) i2c_pwr_off;

    //*****************************************************check for wake up*************
    //about 10 minutes
    if(flag.wakeup==1 && wakeup_cou>120){
      flag.wakeup=0;
      flag.comm=0;
      wakeup_cou=0;

    }

    //---------------Detect Events and send to Center---------
    event_process();

    //Reply Request from Monitoring Center-----------------------
    if(flag.fc301d_reply_cmd==1){
      fc301d_reply_command();
      flag.fc301d_reply_cmd=0;
      resend=0;
    }

    if(ext_device & gsm){

			if((clock.hour)*60+clock.min != SmsSendTime)SmsSendFlag=0;

			if(((clock.hour)*60+clock.min == SmsSendTime)&&(SmsSendFlag==0)){
				SmsSendFlag=1;
				ReadSensorToStr(SMS_text);
				SimChargeCat(SMS_text);
        SendSMS(ServerPhone,SMS_text);

			}

      if(gsm_off_time!=clock.hour){
        gsm_off_time=clock.hour;
        simpwr_off;
        delayms(5000);
        GsmInit();
        flush_buf(SMS_text,250);

      }

       if((sms_pointer=StrSearch_P(SimRecBuffer,"+CMTI:",250))!=NULL){  //+CMTI:
         delayms(2000);
				 sms_pointer=CharSearch_str(sms_pointer,',');
				 if(sms_pointer != NULL){
				 sms_pointer++;
				 sms_pointer1=CharSearch_str(sms_pointer,CRchar);
				 if(sms_pointer1 != NULL){
						 *sms_pointer1=0;
						 SMS_number=strtolong(sms_pointer);

							if(ReadSMS(RemotePhone,SMS_text,SMS_number)==1){

								if(flag.LcdOn==1 && flag.ir_flag==0){
									LCDclr();
									sprintf(buf,"SMS Receive:\n    %s",RemotePhone);
									LCDputs(buf);

								}
								SMS_ReplyCMD(RemotePhone,SMS_text);
								delayms(200);
						}
					}
				}
				for(i=1;i<5;i++){
					flush_buf(SimRecBuffer,250);
					sprintf(SimSendBuffer,"AT+CMGD=%d%c%c",i,CRchar,LF);
					GsmSend(SimSendBuffer);
					SimCount=0;
					sms_pointer=NULL;
					while(SimCount<3 && sms_pointer==NULL){
						sms_pointer=StrSearch(SimRecBuffer,"OK",250);
					}
					delayms(200);
				}
        flush_buf(SimRecBuffer,250);
        flush_buf(SMS_text,250);
        SimRecLen=0;

      }

    }

    if(remute_ir_clear==0){
      delayms(200);
      if(remute_ir_clear==0){
        delayms(200);
        if(remute_ir_clear==0){
          write_exteeprom_byte(0xFF,IrIsLearned_ee_adr);
          flush_buf((unsigned char*)button,80);
          write_exteeprom_ary((unsigned char*)button,68,button_ir_ee_adr);
          if( flag.LcdOn==1 && flag.ir_flag==0){
            LCDclr();
            LCDputs("CLEAR IR !");
            delayms(1000);
          }
          while(1);
        }
      }

    }

    //********************Display off in time*************************************************
    if(flag.LcdOn==1){
      display();
      if(DisplayTime>600){
        lcd_pwr_off;
        flag.LcdOn=0;
      }
    }

  }

  /* USER CODE END 3 */

}

/** System Clock Configuration
*/
void SystemClock_Config(void)
{

  RCC_OscInitTypeDef RCC_OscInitStruct;
  RCC_ClkInitTypeDef RCC_ClkInitStruct;

    /**Configure the main internal regulator output voltage
    */
  __HAL_RCC_PWR_CLK_ENABLE();

  __HAL_PWR_VOLTAGESCALING_CONFIG(PWR_REGULATOR_VOLTAGE_SCALE1);

    /**Initializes the CPU, AHB and APB busses clocks
    */
  RCC_OscInitStruct.OscillatorType = RCC_OSCILLATORTYPE_LSI|RCC_OSCILLATORTYPE_HSE;
  RCC_OscInitStruct.HSEState = RCC_HSE_ON;
  RCC_OscInitStruct.LSIState = RCC_LSI_ON;
  RCC_OscInitStruct.PLL.PLLState = RCC_PLL_ON;
  RCC_OscInitStruct.PLL.PLLSource = RCC_PLLSOURCE_HSE;
  RCC_OscInitStruct.PLL.PLLM = 25;
  RCC_OscInitStruct.PLL.PLLN = 336;
  RCC_OscInitStruct.PLL.PLLP = RCC_PLLP_DIV8;
  RCC_OscInitStruct.PLL.PLLQ = 7;
  if (HAL_RCC_OscConfig(&RCC_OscInitStruct) != HAL_OK)
  {
    _Error_Handler(__FILE__, __LINE__);
  }

    /**Initializes the CPU, AHB and APB busses clocks
    */
  RCC_ClkInitStruct.ClockType = RCC_CLOCKTYPE_HCLK|RCC_CLOCKTYPE_SYSCLK
                              |RCC_CLOCKTYPE_PCLK1|RCC_CLOCKTYPE_PCLK2;
  RCC_ClkInitStruct.SYSCLKSource = RCC_SYSCLKSOURCE_PLLCLK;
  RCC_ClkInitStruct.AHBCLKDivider = RCC_SYSCLK_DIV2;
  RCC_ClkInitStruct.APB1CLKDivider = RCC_HCLK_DIV1;
  RCC_ClkInitStruct.APB2CLKDivider = RCC_HCLK_DIV1;

  if (HAL_RCC_ClockConfig(&RCC_ClkInitStruct, FLASH_LATENCY_0) != HAL_OK)
  {
    _Error_Handler(__FILE__, __LINE__);
  }

    /**Configure the Systick interrupt time
    */
  HAL_SYSTICK_Config(HAL_RCC_GetHCLKFreq()/1000);

    /**Configure the Systick
    */
  HAL_SYSTICK_CLKSourceConfig(SYSTICK_CLKSOURCE_HCLK);

  /* SysTick_IRQn interrupt configuration */
  HAL_NVIC_SetPriority(SysTick_IRQn, 0, 0);
}

/* ADC1 init function */
static void MX_ADC1_Init(void)
{

  ADC_ChannelConfTypeDef sConfig;

    /**Configure the global features of the ADC (Clock, Resolution, Data Alignment and number of conversion)
    */
  hadc1.Instance = ADC1;
  hadc1.Init.ClockPrescaler = ADC_CLOCK_SYNC_PCLK_DIV4;
  hadc1.Init.Resolution = ADC_RESOLUTION_12B;
  hadc1.Init.ScanConvMode = DISABLE;
  hadc1.Init.ContinuousConvMode = DISABLE;
  hadc1.Init.DiscontinuousConvMode = DISABLE;
  hadc1.Init.ExternalTrigConvEdge = ADC_EXTERNALTRIGCONVEDGE_NONE;
  hadc1.Init.ExternalTrigConv = ADC_SOFTWARE_START;
  hadc1.Init.DataAlign = ADC_DATAALIGN_RIGHT;
  hadc1.Init.NbrOfConversion = 1;
  hadc1.Init.DMAContinuousRequests = DISABLE;
  hadc1.Init.EOCSelection = ADC_EOC_SINGLE_CONV;
  if (HAL_ADC_Init(&hadc1) != HAL_OK)
  {
    _Error_Handler(__FILE__, __LINE__);
  }

    /**Configure for the selected ADC regular channel its corresponding rank in the sequencer and its sample time.
    */
  sConfig.Channel = ADC_CHANNEL_3;
  sConfig.Rank = 1;
  sConfig.SamplingTime = ADC_SAMPLETIME_3CYCLES;
  if (HAL_ADC_ConfigChannel(&hadc1, &sConfig) != HAL_OK)
  {
    _Error_Handler(__FILE__, __LINE__);
  }

}

/* ADC3 init function */
static void MX_ADC3_Init(void)
{

  ADC_ChannelConfTypeDef sConfig;

    /**Configure the global features of the ADC (Clock, Resolution, Data Alignment and number of conversion)
    */
  hadc3.Instance = ADC3;
  hadc3.Init.ClockPrescaler = ADC_CLOCK_SYNC_PCLK_DIV4;
  hadc3.Init.Resolution = ADC_RESOLUTION_12B;
  hadc3.Init.ScanConvMode = DISABLE;
  hadc3.Init.ContinuousConvMode = DISABLE;
  hadc3.Init.DiscontinuousConvMode = DISABLE;
  hadc3.Init.ExternalTrigConvEdge = ADC_EXTERNALTRIGCONVEDGE_NONE;
  hadc3.Init.ExternalTrigConv = ADC_SOFTWARE_START;
  hadc3.Init.DataAlign = ADC_DATAALIGN_RIGHT;
  hadc3.Init.NbrOfConversion = 1;
  hadc3.Init.DMAContinuousRequests = DISABLE;
  hadc3.Init.EOCSelection = ADC_EOC_SINGLE_CONV;
  if (HAL_ADC_Init(&hadc3) != HAL_OK)
  {
    _Error_Handler(__FILE__, __LINE__);
  }

    /**Configure for the selected ADC regular channel its corresponding rank in the sequencer and its sample time.
    */
  sConfig.Channel = ADC_CHANNEL_9;
  sConfig.Rank = 1;
  sConfig.SamplingTime = ADC_SAMPLETIME_3CYCLES;
  if (HAL_ADC_ConfigChannel(&hadc3, &sConfig) != HAL_OK)
  {
    _Error_Handler(__FILE__, __LINE__);
  }

}

/* I2C1 init function */
static void MX_I2C1_Init(void)
{

  hi2c1.Instance = I2C1;
  hi2c1.Init.ClockSpeed = 100000;
  hi2c1.Init.DutyCycle = I2C_DUTYCYCLE_2;
  hi2c1.Init.OwnAddress1 = 0;
  hi2c1.Init.AddressingMode = I2C_ADDRESSINGMODE_7BIT;
  hi2c1.Init.DualAddressMode = I2C_DUALADDRESS_DISABLE;
  hi2c1.Init.OwnAddress2 = 0;
  hi2c1.Init.GeneralCallMode = I2C_GENERALCALL_DISABLE;
  hi2c1.Init.NoStretchMode = I2C_NOSTRETCH_DISABLE;
  if (HAL_I2C_Init(&hi2c1) != HAL_OK)
  {
    _Error_Handler(__FILE__, __LINE__);
  }

}

/* I2C2 init function */
static void MX_I2C2_Init(void)
{

  hi2c2.Instance = I2C2;
  hi2c2.Init.ClockSpeed = 100000;
  hi2c2.Init.DutyCycle = I2C_DUTYCYCLE_2;
  hi2c2.Init.OwnAddress1 = 0;
  hi2c2.Init.AddressingMode = I2C_ADDRESSINGMODE_7BIT;
  hi2c2.Init.DualAddressMode = I2C_DUALADDRESS_DISABLE;
  hi2c2.Init.OwnAddress2 = 0;
  hi2c2.Init.GeneralCallMode = I2C_GENERALCALL_DISABLE;
  hi2c2.Init.NoStretchMode = I2C_NOSTRETCH_DISABLE;
  if (HAL_I2C_Init(&hi2c2) != HAL_OK)
  {
    _Error_Handler(__FILE__, __LINE__);
  }

}

/* IWDG init function */
static void MX_IWDG_Init(void)
{

  hiwdg.Instance = IWDG;
  hiwdg.Init.Prescaler = IWDG_PRESCALER_32;
  hiwdg.Init.Reload = 4095;
  if (HAL_IWDG_Init(&hiwdg) != HAL_OK)
  {
    _Error_Handler(__FILE__, __LINE__);
  }

}

/* SDIO init function */
static void MX_SDIO_SD_Init(void)
{

  hsd.Instance = SDIO;
  hsd.Init.ClockEdge = SDIO_CLOCK_EDGE_RISING;
  hsd.Init.ClockBypass = SDIO_CLOCK_BYPASS_DISABLE;
  hsd.Init.ClockPowerSave = SDIO_CLOCK_POWER_SAVE_DISABLE;
  hsd.Init.BusWide = SDIO_BUS_WIDE_1B;
  hsd.Init.HardwareFlowControl = SDIO_HARDWARE_FLOW_CONTROL_DISABLE;
  hsd.Init.ClockDiv = 10;

}

/* TIM1 init function */
static void MX_TIM1_Init(void)
{

  TIM_Encoder_InitTypeDef sConfig;
  TIM_MasterConfigTypeDef sMasterConfig;

  htim1.Instance = TIM1;
  htim1.Init.Prescaler = 0;
  htim1.Init.CounterMode = TIM_COUNTERMODE_UP;
  htim1.Init.Period = 65535;
  htim1.Init.ClockDivision = TIM_CLOCKDIVISION_DIV1;
  htim1.Init.RepetitionCounter = 0;
  sConfig.EncoderMode = TIM_ENCODERMODE_TI1;
  sConfig.IC1Polarity = TIM_ICPOLARITY_RISING;
  sConfig.IC1Selection = TIM_ICSELECTION_DIRECTTI;
  sConfig.IC1Prescaler = TIM_ICPSC_DIV1;
  sConfig.IC1Filter = 0;
  sConfig.IC2Polarity = TIM_ICPOLARITY_RISING;
  sConfig.IC2Selection = TIM_ICSELECTION_DIRECTTI;
  sConfig.IC2Prescaler = TIM_ICPSC_DIV1;
  sConfig.IC2Filter = 0;
  if (HAL_TIM_Encoder_Init(&htim1, &sConfig) != HAL_OK)
  {
    _Error_Handler(__FILE__, __LINE__);
  }

  sMasterConfig.MasterOutputTrigger = TIM_TRGO_RESET;
  sMasterConfig.MasterSlaveMode = TIM_MASTERSLAVEMODE_DISABLE;
  if (HAL_TIMEx_MasterConfigSynchronization(&htim1, &sMasterConfig) != HAL_OK)
  {
    _Error_Handler(__FILE__, __LINE__);
  }

}

/* TIM2 init function */
static void MX_TIM2_Init(void)
{

  TIM_ClockConfigTypeDef sClockSourceConfig;
  TIM_MasterConfigTypeDef sMasterConfig;

  htim2.Instance = TIM2;
  htim2.Init.Prescaler = 672;
  htim2.Init.CounterMode = TIM_COUNTERMODE_UP;
  htim2.Init.Period = 62500;
  htim2.Init.ClockDivision = TIM_CLOCKDIVISION_DIV1;
  if (HAL_TIM_Base_Init(&htim2) != HAL_OK)
  {
    _Error_Handler(__FILE__, __LINE__);
  }

  sClockSourceConfig.ClockSource = TIM_CLOCKSOURCE_INTERNAL;
  if (HAL_TIM_ConfigClockSource(&htim2, &sClockSourceConfig) != HAL_OK)
  {
    _Error_Handler(__FILE__, __LINE__);
  }

  sMasterConfig.MasterOutputTrigger = TIM_TRGO_RESET;
  sMasterConfig.MasterSlaveMode = TIM_MASTERSLAVEMODE_DISABLE;
  if (HAL_TIMEx_MasterConfigSynchronization(&htim2, &sMasterConfig) != HAL_OK)
  {
    _Error_Handler(__FILE__, __LINE__);
  }

}

/* TIM3 init function */
static void MX_TIM3_Init(void)
{

  TIM_ClockConfigTypeDef sClockSourceConfig;
  TIM_MasterConfigTypeDef sMasterConfig;

  htim3.Instance = TIM3;
  htim3.Init.Prescaler = 20;
  htim3.Init.CounterMode = TIM_COUNTERMODE_UP;
  htim3.Init.Period = 65535;
  htim3.Init.ClockDivision = TIM_CLOCKDIVISION_DIV1;
  if (HAL_TIM_Base_Init(&htim3) != HAL_OK)
  {
    _Error_Handler(__FILE__, __LINE__);
  }

  sClockSourceConfig.ClockSource = TIM_CLOCKSOURCE_INTERNAL;
  if (HAL_TIM_ConfigClockSource(&htim3, &sClockSourceConfig) != HAL_OK)
  {
    _Error_Handler(__FILE__, __LINE__);
  }

  sMasterConfig.MasterOutputTrigger = TIM_TRGO_RESET;
  sMasterConfig.MasterSlaveMode = TIM_MASTERSLAVEMODE_DISABLE;
  if (HAL_TIMEx_MasterConfigSynchronization(&htim3, &sMasterConfig) != HAL_OK)
  {
    _Error_Handler(__FILE__, __LINE__);
  }

}

/* TIM4 init function */
static void MX_TIM4_Init(void)
{

  TIM_ClockConfigTypeDef sClockSourceConfig;
  TIM_MasterConfigTypeDef sMasterConfig;

  htim4.Instance = TIM4;
  htim4.Init.Prescaler = 2100;
  htim4.Init.CounterMode = TIM_COUNTERMODE_UP;
  htim4.Init.Period = 100;
  htim4.Init.ClockDivision = TIM_CLOCKDIVISION_DIV1;
  if (HAL_TIM_Base_Init(&htim4) != HAL_OK)
  {
    _Error_Handler(__FILE__, __LINE__);
  }

  sClockSourceConfig.ClockSource = TIM_CLOCKSOURCE_INTERNAL;
  if (HAL_TIM_ConfigClockSource(&htim4, &sClockSourceConfig) != HAL_OK)
  {
    _Error_Handler(__FILE__, __LINE__);
  }

  sMasterConfig.MasterOutputTrigger = TIM_TRGO_RESET;
  sMasterConfig.MasterSlaveMode = TIM_MASTERSLAVEMODE_DISABLE;
  if (HAL_TIMEx_MasterConfigSynchronization(&htim4, &sMasterConfig) != HAL_OK)
  {
    _Error_Handler(__FILE__, __LINE__);
  }

}

/* TIM6 init function */
static void MX_TIM6_Init(void)
{

  TIM_MasterConfigTypeDef sMasterConfig;

  htim6.Instance = TIM6;
  htim6.Init.Prescaler = 192;
  htim6.Init.CounterMode = TIM_COUNTERMODE_UP;
  htim6.Init.Period = 65535;
  if (HAL_TIM_Base_Init(&htim6) != HAL_OK)
  {
    _Error_Handler(__FILE__, __LINE__);
  }

  sMasterConfig.MasterOutputTrigger = TIM_TRGO_RESET;
  sMasterConfig.MasterSlaveMode = TIM_MASTERSLAVEMODE_DISABLE;
  if (HAL_TIMEx_MasterConfigSynchronization(&htim6, &sMasterConfig) != HAL_OK)
  {
    _Error_Handler(__FILE__, __LINE__);
  }

}

/* USART1 init function */
static void MX_USART1_UART_Init(void)
{

  huart1.Instance = USART1;
  huart1.Init.BaudRate = 115200;
  huart1.Init.WordLength = UART_WORDLENGTH_8B;
  huart1.Init.StopBits = UART_STOPBITS_1;
  huart1.Init.Parity = UART_PARITY_NONE;
  huart1.Init.Mode = UART_MODE_TX_RX;
  huart1.Init.HwFlowCtl = UART_HWCONTROL_NONE;
  huart1.Init.OverSampling = UART_OVERSAMPLING_16;
  if (HAL_UART_Init(&huart1) != HAL_OK)
  {
    _Error_Handler(__FILE__, __LINE__);
  }

}

/* USART2 init function */
static void MX_USART2_UART_Init(void)
{

  huart2.Instance = USART2;
  huart2.Init.BaudRate = 115200;
  huart2.Init.WordLength = UART_WORDLENGTH_8B;
  huart2.Init.StopBits = UART_STOPBITS_1;
  huart2.Init.Parity = UART_PARITY_NONE;
  huart2.Init.Mode = UART_MODE_TX_RX;
  huart2.Init.HwFlowCtl = UART_HWCONTROL_NONE;
  huart2.Init.OverSampling = UART_OVERSAMPLING_16;
  if (HAL_UART_Init(&huart2) != HAL_OK)
  {
    _Error_Handler(__FILE__, __LINE__);
  }

}

/* USART3 init function */
static void MX_USART3_UART_Init(void)
{

  huart3.Instance = USART3;
  huart3.Init.BaudRate = 9600;
  huart3.Init.WordLength = UART_WORDLENGTH_8B;
  huart3.Init.StopBits = UART_STOPBITS_1;
  huart3.Init.Parity = UART_PARITY_NONE;
  huart3.Init.Mode = UART_MODE_TX_RX;
  huart3.Init.HwFlowCtl = UART_HWCONTROL_NONE;
  huart3.Init.OverSampling = UART_OVERSAMPLING_16;
  if (HAL_UART_Init(&huart3) != HAL_OK)
  {
    _Error_Handler(__FILE__, __LINE__);
  }

}

static void MX_DMA_Init(void)
{
  /* DMA controller clock enable */
  __HAL_RCC_DMA1_CLK_ENABLE();

  /* DMA interrupt init */
  /* DMA1_Stream5_IRQn interrupt configuration */
  HAL_NVIC_SetPriority(DMA1_Stream5_IRQn, 0, 0);
  HAL_NVIC_EnableIRQ(DMA1_Stream5_IRQn);

}

/** Configure pins as
        * Analog
        * Input
        * Output
        * EVENT_OUT
        * EXTI
*/
static void MX_GPIO_Init(void)
{

  GPIO_InitTypeDef GPIO_InitStruct;

  /* GPIO Ports Clock Enable */
  __HAL_RCC_GPIOE_CLK_ENABLE();
  __HAL_RCC_GPIOC_CLK_ENABLE();
  __HAL_RCC_GPIOF_CLK_ENABLE();
  __HAL_RCC_GPIOH_CLK_ENABLE();
  __HAL_RCC_GPIOA_CLK_ENABLE();
  __HAL_RCC_GPIOB_CLK_ENABLE();
  __HAL_RCC_GPIOD_CLK_ENABLE();
  __HAL_RCC_GPIOG_CLK_ENABLE();

  /*Configure GPIO pin Output Level */
  HAL_GPIO_WritePin(GPIOE, GPIO_PIN_2|GPIO_PIN_3|GPIO_PIN_4|GPIO_PIN_5
                          |GPIO_PIN_6|GPIO_PIN_7, GPIO_PIN_RESET);

  /*Configure GPIO pin Output Level */
  HAL_GPIO_WritePin(GPIOC, GPIO_PIN_13, GPIO_PIN_RESET);

  /*Configure GPIO pin Output Level */
  HAL_GPIO_WritePin(GPIOB, GPIO_PIN_0|GPIO_PIN_1|GPIO_PIN_2|GPIO_PIN_11
                          |GPIO_PIN_3|GPIO_PIN_4|GPIO_PIN_5, GPIO_PIN_RESET);

  /*Configure GPIO pin Output Level */
  HAL_GPIO_WritePin(GPIOG, GPIO_PIN_3, GPIO_PIN_RESET);

  /*Configure GPIO pin Output Level */
  HAL_GPIO_WritePin(GPIOA, GPIO_PIN_15, GPIO_PIN_RESET);

  /*Configure GPIO pin Output Level */
  HAL_GPIO_WritePin(GPIOD, GPIO_PIN_7, GPIO_PIN_RESET);

  /*Configure GPIO pins : PE2 PE3 PE4 PE5
                           PE6 PE7 */
  GPIO_InitStruct.Pin = GPIO_PIN_2|GPIO_PIN_3|GPIO_PIN_4|GPIO_PIN_5
                          |GPIO_PIN_6|GPIO_PIN_7;
  GPIO_InitStruct.Mode = GPIO_MODE_OUTPUT_PP;
  GPIO_InitStruct.Pull = GPIO_NOPULL;
  GPIO_InitStruct.Speed = GPIO_SPEED_FREQ_LOW;
  HAL_GPIO_Init(GPIOE, &GPIO_InitStruct);

  /*Configure GPIO pin : PC13 */
  GPIO_InitStruct.Pin = GPIO_PIN_13;
  GPIO_InitStruct.Mode = GPIO_MODE_OUTPUT_PP;
  GPIO_InitStruct.Pull = GPIO_NOPULL;
  GPIO_InitStruct.Speed = GPIO_SPEED_FREQ_LOW;
  HAL_GPIO_Init(GPIOC, &GPIO_InitStruct);

  /*Configure GPIO pin : PF2 */
  GPIO_InitStruct.Pin = GPIO_PIN_2;
  GPIO_InitStruct.Mode = GPIO_MODE_IT_RISING;
  GPIO_InitStruct.Pull = GPIO_NOPULL;
  HAL_GPIO_Init(GPIOF, &GPIO_InitStruct);

  /*Configure GPIO pins : PB0 PB1 PB2 PB11
                           PB3 PB4 PB5 */
  GPIO_InitStruct.Pin = GPIO_PIN_0|GPIO_PIN_1|GPIO_PIN_2|GPIO_PIN_11
                          |GPIO_PIN_3|GPIO_PIN_4|GPIO_PIN_5;
  GPIO_InitStruct.Mode = GPIO_MODE_OUTPUT_PP;
  GPIO_InitStruct.Pull = GPIO_NOPULL;
  GPIO_InitStruct.Speed = GPIO_SPEED_FREQ_LOW;
  HAL_GPIO_Init(GPIOB, &GPIO_InitStruct);

  /*Configure GPIO pins : PE8 PE12 PE0 PE1 */
  GPIO_InitStruct.Pin = GPIO_PIN_8|GPIO_PIN_12|GPIO_PIN_0|GPIO_PIN_1;
  GPIO_InitStruct.Mode = GPIO_MODE_INPUT;
  GPIO_InitStruct.Pull = GPIO_NOPULL;
  HAL_GPIO_Init(GPIOE, &GPIO_InitStruct);

  /*Configure GPIO pin : PE10 */
  GPIO_InitStruct.Pin = GPIO_PIN_10;
  GPIO_InitStruct.Mode = GPIO_MODE_IT_FALLING;
  GPIO_InitStruct.Pull = GPIO_NOPULL;
  HAL_GPIO_Init(GPIOE, &GPIO_InitStruct);

  /*Configure GPIO pin : PE15 */
  GPIO_InitStruct.Pin = GPIO_PIN_15;
  GPIO_InitStruct.Mode = GPIO_MODE_IT_FALLING;
  GPIO_InitStruct.Pull = GPIO_PULLUP;
  HAL_GPIO_Init(GPIOE, &GPIO_InitStruct);

  /*Configure GPIO pins : PD10 PD11 PD14 PD0
                           PD1 PD3 PD4 */
  GPIO_InitStruct.Pin = GPIO_PIN_10|GPIO_PIN_11|GPIO_PIN_14|GPIO_PIN_0
                          |GPIO_PIN_1|GPIO_PIN_3|GPIO_PIN_4;
  GPIO_InitStruct.Mode = GPIO_MODE_INPUT;
  GPIO_InitStruct.Pull = GPIO_NOPULL;
  HAL_GPIO_Init(GPIOD, &GPIO_InitStruct);

  /*Configure GPIO pin : PG3 */
  GPIO_InitStruct.Pin = GPIO_PIN_3;
  GPIO_InitStruct.Mode = GPIO_MODE_OUTPUT_PP;
  GPIO_InitStruct.Pull = GPIO_NOPULL;
  GPIO_InitStruct.Speed = GPIO_SPEED_FREQ_LOW;
  HAL_GPIO_Init(GPIOG, &GPIO_InitStruct);

  /*Configure GPIO pin : PC7 */
  GPIO_InitStruct.Pin = GPIO_PIN_7;
  GPIO_InitStruct.Mode = GPIO_MODE_INPUT;
  GPIO_InitStruct.Pull = GPIO_NOPULL;
  HAL_GPIO_Init(GPIOC, &GPIO_InitStruct);

  /*Configure GPIO pin : PA15 */
  GPIO_InitStruct.Pin = GPIO_PIN_15;
  GPIO_InitStruct.Mode = GPIO_MODE_OUTPUT_PP;
  GPIO_InitStruct.Pull = GPIO_NOPULL;
  GPIO_InitStruct.Speed = GPIO_SPEED_FREQ_LOW;
  HAL_GPIO_Init(GPIOA, &GPIO_InitStruct);

  /*Configure GPIO pin : PD7 */
  GPIO_InitStruct.Pin = GPIO_PIN_7;
  GPIO_InitStruct.Mode = GPIO_MODE_OUTPUT_PP;
  GPIO_InitStruct.Pull = GPIO_NOPULL;
  GPIO_InitStruct.Speed = GPIO_SPEED_FREQ_LOW;
  HAL_GPIO_Init(GPIOD, &GPIO_InitStruct);

  /*Configure GPIO pin : PG9 */
//  GPIO_InitStruct.Pin = GPIO_PIN_9;
//  GPIO_InitStruct.Mode = GPIO_MODE_IT_FALLING;
//  GPIO_InitStruct.Pull = GPIO_NOPULL;
//  HAL_GPIO_Init(GPIOG, &GPIO_InitStruct);

  /* EXTI interrupt init*/
  HAL_NVIC_SetPriority(EXTI2_IRQn, 1, 0);
  HAL_NVIC_EnableIRQ(EXTI2_IRQn);

  HAL_NVIC_SetPriority(EXTI9_5_IRQn, 1, 0);
  HAL_NVIC_EnableIRQ(EXTI9_5_IRQn);

  HAL_NVIC_SetPriority(EXTI15_10_IRQn, 2, 0);
  HAL_NVIC_EnableIRQ(EXTI15_10_IRQn);

}

void _Error_Handler(char * file, int line)
{
  while(1)
  {
  }
}

/************************ (C) COPYRIGHT STMicroelectronics *****END OF FILE****/
